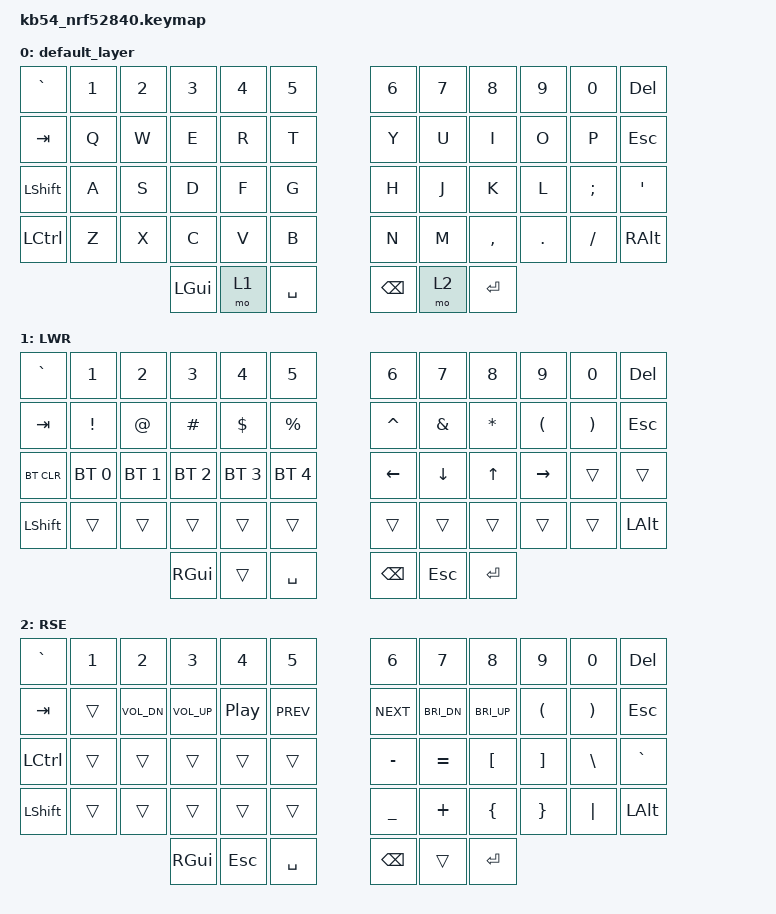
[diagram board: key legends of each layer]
/*
 * Copyright (c) 2020 The ZMK Contributors
 *
 * SPDX-License-Identifier: MIT
 */

#include <behaviors.dtsi>
#include <dt-bindings/zmk/keys.h>
#include <dt-bindings/zmk/bt.h>

/ {
        keymap {
                compatible = "zmk,keymap";

                default_layer {
// -----------------------------------------------------------------------------------------
// |   `  |  1  |  2  |  3  |  4  |  5  |   |  6  |  7   |  8  |  9  |  0  |  DEL |
// |  TAB |  Q  |  W  |  E  |  R  |  T  |   |  Y  |  U   |  I  |  O  |  P  | ESC  |
// | SHFT |  A  |  S  |  D  |  F  |  G  |   |  H  |  J   |  K  |  L  |  ;  |  '   |
// | CTRL |  Z  |  X  |  C  |  V  |  B  |   |  N  |  M   |  ,  |  .  |  /  | ALT  |
//                    | GUI | LWR | SPC |   | BSP | RSE  | ENTR |
                        bindings = <
   &kp GRAVE &kp N1 &kp N2 &kp N3 &kp N4 &kp N5    &kp N6 &kp N7 &kp N8    &kp N9  &kp N0   &kp DEL
   &kp TAB   &kp Q  &kp W  &kp E  &kp R  &kp T     &kp Y  &kp U  &kp I     &kp O   &kp P    &kp ESC
   &kp LSHFT &kp A  &kp S  &kp D  &kp F  &kp G     &kp H  &kp J  &kp K     &kp L   &kp SEMI &kp SQT
   &kp LCTRL &kp Z  &kp X  &kp C  &kp V  &kp B     &kp N  &kp M  &kp COMMA &kp DOT &kp FSLH &kp RALT
                        &kp LGUI &mo 1 &kp SPACE   &kp BSPC &mo 2 &kp RET
                        >;
                };

                lower_layer {
                    display-name = "LWR";
                    label = "LWR";
// -----------------------------------------------------------------------------------------
// |   `  |  1  |  2  |  3  |  4  |  5  |   |  6  |  7  |  8  |  9  |  0  |  DEL |
// |  TAB |  !  |  @  |  #  |  $  |  %  |   |  ^  |  &  |  *  |  (  |  )  | ESC  |
// | BTCLR| BT1 | BT2 | BT3 | BT4 | BT5 |   | LFT | DWN |  UP | RGT |     |      |
// | SHFT |     |     |     |     |     |   |     |     |     |     |     | ALT  |
//                    | GUI |     | SPC |   | BSP | ESC | ENTR |
                        bindings = <
   &kp GRAVE    &kp N1          &kp N2          &kp N3          &kp N4          &kp N5                  &kp N6      &kp N7      &kp N8      &kp N9      &kp N0      &kp DEL
   &kp TAB      &kp EXCL        &kp AT          &kp HASH        &kp DLLR        &kp PRCNT               &kp CARET   &kp AMPS    &kp ASTRK   &kp LPAR    &kp RPAR    &kp ESC
   &bt BT_CLR   &bt BT_SEL 0    &bt BT_SEL 1    &bt BT_SEL 2    &bt BT_SEL 3    &bt BT_SEL 4            &kp LEFT    &kp DOWN    &kp UP      &kp RIGHT   &trans      &trans
   &kp LSHFT    &trans          &trans          &trans          &trans          &trans                  &trans      &trans      &trans      &trans      &trans      &kp LALT
                                                &kp RGUI        &trans          &kp SPACE               &kp BSPC    &kp ESC     &kp RET
                        >;
                };

                raise_layer {
                    display-name = "RSE";
                    label = "RSE";
// -----------------------------------------------------------------------------------------
// |   `  |  1  |  2  |  3  |  4  |  5  |   |  6  |  7  |  8  |  9  |  0  |  DEL |
// |  TAB |     |VOL- |VOL+ | P/P | PRV |   | NXT | BR- | BR+ |  (  |  )  | ESC  |
// | CTRL |     |     |     |     |     |   |  -  |  =  |  [  |  ]  |  \  |  `   |
// | SHFT |     |     |     |     |     |   |  _  |  +  |  {  |  }  | "|" |  ALT |
//                    | GUI | ESC | SPC |   | BSP |     | ENTR |
                        bindings = <
   &kp GRAVE &kp N1     &kp N2          &kp N3          &kp N4      &kp N5              &kp N6      &kp N7          &kp N8          &kp N9      &kp N0   &kp DEL
   &kp  TAB  &trans     &kp C_VOL_DN    &kp C_VOL_UP    &kp C_PP    &kp C_PREV          &kp C_NEXT  &kp C_BRI_DN    &kp C_BRI_UP    &kp LPAR    &kp RPAR &kp ESC
   &kp LCTRL &trans     &trans          &trans          &trans      &trans              &kp MINUS   &kp EQUAL       &kp LBKT        &kp RBKT    &kp BSLH &kp GRAVE
   &kp LSHFT &trans     &trans          &trans          &trans      &trans              &kp UNDER   &kp PLUS        &kp LBRC        &kp RBRC    &kp PIPE &kp LALT
                                        &kp RGUI        &kp ESC     &kp SPACE           &kp BSPC   &trans          &kp RET
                        >;
                };
        };
};
